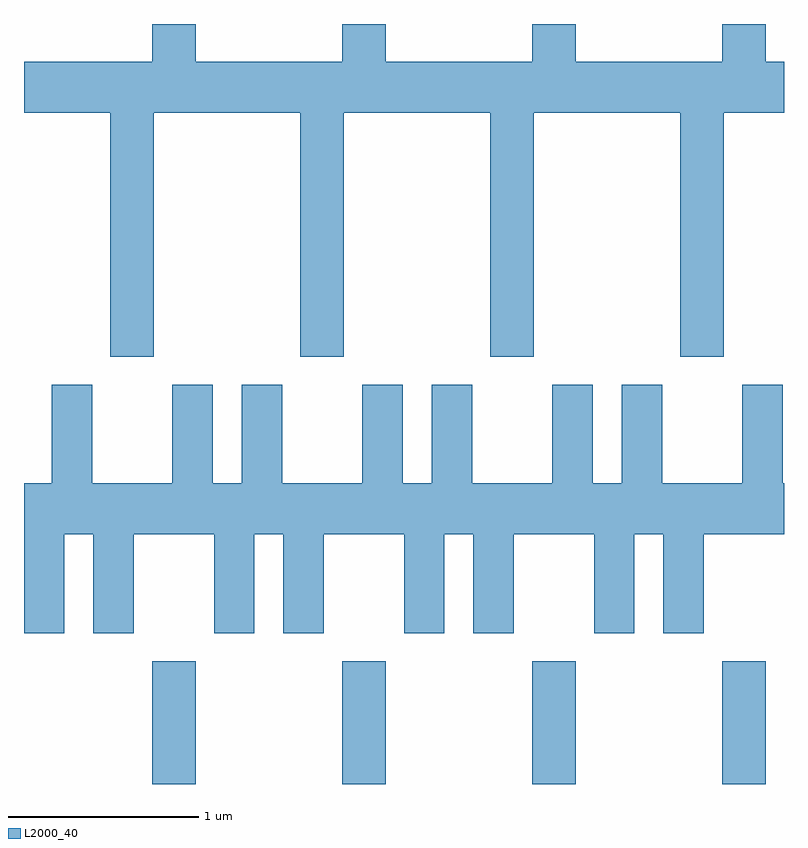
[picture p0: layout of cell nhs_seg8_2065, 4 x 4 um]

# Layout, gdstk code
import gdstk
lib = gdstk.Library(unit=1e-6, precision=1e-09)
def R(c, l, rs):  # rectangles x0, y0, x1, y1
    for r in rs: c.add(gdstk.rectangle(r[:2], r[2:], *l))
def A(c, l, x, y, w, h, nx, ny, dx, dy):  # array of equal rectangles
    R(c, l, [(x+i*dx, y+j*dy, x+i*dx+w, y+j*dy+h) for i in range(nx) for j in range(ny)])
def P(c, l, *ps):  # polygons
    for p in ps: c.add(gdstk.Polygon(p, *l))
L2000_40 = (2000, 40)

nhs_seg8_2065 = lib.new_cell('nhs_seg8_2065')
A(nhs_seg8_2065, L2000_40, 246.286, 1928.342, 0.228, 0.647, 4, 1, 1, 0)
P(nhs_seg8_2065, L2000_40, [(246.294,1931.876),(247.066,1931.876),(247.066,1930.591),(247.294,1930.591),(247.294,1931.876),(248.066,1931.876),(248.066,1930.591),(248.294,1930.591),(248.294,1931.876),(249.066,1931.876),(249.066,1930.591),(249.294,1930.591),(249.294,1931.876),(249.611,1931.876),(249.611,1932.144),(249.514,1932.144),(249.514,1932.342),(249.286,1932.342),(249.286,1932.144),(248.514,1932.144),(248.514,1932.342),(248.286,1932.342),(248.286,1932.144),(247.514,1932.144),(247.514,1932.342),(247.286,1932.342),(247.286,1932.144),(246.514,1932.144),(246.514,1932.342),(246.286,1932.342),(246.286,1932.144),(245.611,1932.144),(245.611,1931.876),(246.066,1931.876),(246.066,1930.591),(246.294,1930.591)],
  [(245.824,1929.656),(245.976,1929.656),(245.976,1929.136),(246.189,1929.136),(246.189,1929.656),(246.611,1929.656),(246.611,1929.136),(246.824,1929.136),(246.824,1929.656),(246.976,1929.656),(246.976,1929.136),(247.189,1929.136),(247.189,1929.656),(247.611,1929.656),(247.611,1929.136),(247.824,1929.136),(247.824,1929.656),(247.976,1929.656),(247.976,1929.136),(248.189,1929.136),(248.189,1929.656),(248.611,1929.656),(248.611,1929.136),(248.824,1929.136),(248.824,1929.656),(248.976,1929.656),(248.976,1929.136),(249.189,1929.136),(249.189,1929.656),(249.611,1929.656),(249.611,1929.924),(249.604,1929.924),(249.604,1930.444),(249.391,1930.444),(249.391,1929.924),(248.969,1929.924),(248.969,1930.444),(248.756,1930.444),(248.756,1929.924),(248.604,1929.924),(248.604,1930.444),(248.391,1930.444),(248.391,1929.924),(247.969,1929.924),(247.969,1930.444),(247.756,1930.444),(247.756,1929.924),(247.604,1929.924),(247.604,1930.444),(247.391,1930.444),(247.391,1929.924),(246.969,1929.924),(246.969,1930.444),(246.756,1930.444),(246.756,1929.924),(246.604,1929.924),(246.604,1930.444),(246.391,1930.444),(246.391,1929.924),(245.969,1929.924),(245.969,1930.444),(245.756,1930.444),(245.756,1929.924),(245.611,1929.924),(245.611,1929.136),(245.824,1929.136)])

lib.write_gds('nhs_seg8_2065.gds')
